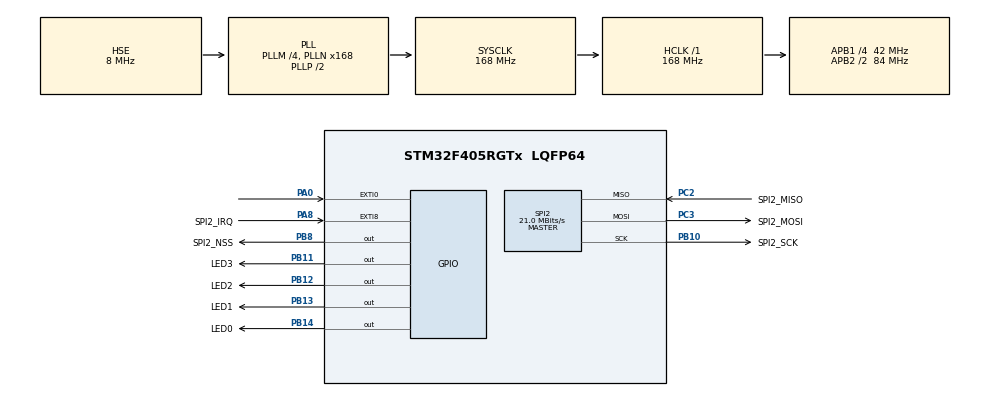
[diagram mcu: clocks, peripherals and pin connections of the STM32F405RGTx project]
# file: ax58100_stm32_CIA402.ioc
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Dma.Request0=SPI2_RX
Dma.Request1=SPI2_TX
Dma.SPI2_RX.0.Direction=DMA_PERIPH_TO_MEMORY
Dma.SPI2_RX.0.FIFOMode=DMA_FIFOMODE_DISABLE
Dma.SPI2_RX.0.Instance=DMA1_Stream3
Dma.SPI2_RX.0.MemDataAlignment=DMA_MDATAALIGN_BYTE
Dma.SPI2_RX.0.MemInc=DMA_MINC_ENABLE
Dma.SPI2_RX.0.Mode=DMA_NORMAL
Dma.SPI2_RX.0.PeriphDataAlignment=DMA_PDATAALIGN_BYTE
Dma.SPI2_RX.0.PeriphInc=DMA_PINC_DISABLE
Dma.SPI2_RX.0.Priority=DMA_PRIORITY_HIGH
Dma.SPI2_TX.1.Direction=DMA_MEMORY_TO_PERIPH
Dma.SPI2_TX.1.FIFOMode=DMA_FIFOMODE_DISABLE
Dma.SPI2_TX.1.Instance=DMA1_Stream4
Dma.SPI2_TX.1.MemDataAlignment=DMA_MDATAALIGN_BYTE
Dma.SPI2_TX.1.MemInc=DMA_MINC_ENABLE
Dma.SPI2_TX.1.Mode=DMA_NORMAL
Dma.SPI2_TX.1.PeriphDataAlignment=DMA_PDATAALIGN_BYTE
Dma.SPI2_TX.1.PeriphInc=DMA_PINC_DISABLE
Dma.SPI2_TX.1.Priority=DMA_PRIORITY_HIGH
FREERTOS.Tasks01=ledTask,24,128,LedTask,Default,NULL,Dynamic,NULL,NULL
Mcu.Family=STM32F4
Mcu.Name=STM32F405RGTx
Mcu.Package=LQFP64
NVIC.DMA1_Stream3_IRQn=true\:5\:0\:false\:false\:true\:true\:false\:true\:true
NVIC.DMA1_Stream4_IRQn=true\:5\:0\:false\:false\:true\:true\:false\:true\:true
NVIC.EXTI0_IRQn=true\:5\:0\:false\:false\:true\:true\:true\:true\:true
NVIC.EXTI9_5_IRQn=true\:5\:0\:false\:false\:true\:true\:true\:true\:true
NVIC.PriorityGroup=NVIC_PRIORITYGROUP_4
NVIC.TIM6_DAC_IRQn=true\:15\:0\:false\:false\:true\:false\:false\:true\:true
NVIC.TimeBase=TIM6_DAC_IRQn
NVIC.TimeBaseIP=TIM6
PA0-WKUP.Signal=GPXTI0
PA8.GPIO_Label=SPI2_IRQ
PA8.GPIO_ModeDefaultEXTI=GPIO_MODE_IT_FALLING
PA8.Signal=GPXTI8
PB10.GPIO_Label=SPI2_SCK
PB10.Mode=Full_Duplex_Master
PB10.Signal=SPI2_SCK
PB11.GPIO_Label=LED3
PB11.Signal=GPIO_Output
PB12.GPIO_Label=LED2
PB12.Signal=GPIO_Output
PB13.GPIO_Label=LED1
PB13.Signal=GPIO_Output
PB14.GPIO_Label=LED0
PB14.Signal=GPIO_Output
PB8.GPIO_Label=SPI2_NSS
PB8.Signal=GPIO_Output
PC2.GPIO_Label=SPI2_MISO
PC2.Mode=Full_Duplex_Master
PC2.Signal=SPI2_MISO
PC3.GPIO_Label=SPI2_MOSI
PC3.Mode=Full_Duplex_Master
PC3.Signal=SPI2_MOSI
PH0-OSC_IN.Mode=HSE-External-Oscillator
PH0-OSC_IN.Signal=RCC_OSC_IN
PH1-OSC_OUT.Mode=HSE-External-Oscillator
PH1-OSC_OUT.Signal=RCC_OSC_OUT
ProjectManager.HeapSize=0x200
ProjectManager.StackSize=0x400
ProjectManager.TargetToolchain=Makefile
RCC.48MHZClocksFreq_Value=48000000
RCC.AHBFreq_Value=168000000
RCC.APB1CLKDivider=RCC_HCLK_DIV4
RCC.APB1Freq_Value=42000000
RCC.APB1TimFreq_Value=84000000
RCC.APB2CLKDivider=RCC_HCLK_DIV2
RCC.APB2Freq_Value=84000000
RCC.APB2TimFreq_Value=168000000
RCC.CortexFreq_Value=168000000
RCC.HCLKFreq_Value=168000000
RCC.HSE_VALUE=8000000
RCC.HSI_VALUE=16000000
RCC.LSE_VALUE=32768
RCC.PLLM=4
RCC.PLLN=168
RCC.PLLQ=7
RCC.PLLSourceVirtual=RCC_PLLSOURCE_HSE
RCC.SYSCLKFreq_VALUE=168000000
RCC.SYSCLKSource=RCC_SYSCLKSOURCE_PLLCLK
RCC.VCOOutputFreq_Value=336000000
SPI2.BaudRatePrescaler=SPI_BAUDRATEPRESCALER_2
SPI2.CRCCalculation=SPI_CRCCALCULATION_ENABLE
SPI2.CRCPolynomial=X7
SPI2.CalculateBaudRate=21.0 MBits/s
SPI2.Direction=SPI_DIRECTION_2LINES
SPI2.Mode=SPI_MODE_MASTER
SPI2.VirtualType=VM_MASTER
VP_FREERTOS_VS_CMSIS_V2.Mode=CMSIS_V2
VP_SYS_VS_tim6.Mode=TIM6
board=custom

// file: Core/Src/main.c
/* USER CODE BEGIN Header */
/**
 ******************************************************************************
 * @file           : main.c
 * @brief          : Main program body
 ******************************************************************************
 * @attention
 *
 * Copyright (c) 2023 STMicroelectronics.
 * All rights reserved.
 *
 * This software is licensed under terms that can be found in the LICENSE file
 * in the root directory of this software component.
 * If no LICENSE file comes with this software, it is provided AS-IS.
 *
 ******************************************************************************
 */
/* USER CODE END Header */
#include "main.h"
#include "cmsis_os.h"

/* USER CODE BEGIN Includes */

#include "esc.h"
#include "ecat_slv.h"
#include "ecatapp.h"

/* USER CODE END Includes */

SPI_HandleTypeDef hspi2;
DMA_HandleTypeDef hdma_spi2_rx;
DMA_HandleTypeDef hdma_spi2_tx;

/* Definitions for ledTask */
osThreadId_t ledTaskHandle;
const osThreadAttr_t ledTask_attributes = {
    .name = "ledTask",
    .stack_size = 128 * 4,
    .priority = (osPriority_t)osPriorityNormal,
};

void SystemClock_Config(void);
static void MX_GPIO_Init(void);
static void MX_DMA_Init(void);
static void MX_SPI2_Init(void);
void LedTask(void *argument);

/* USER CODE BEGIN 0 */
void ecatapp_loop(void)
{
  // stack in mixed mode
  if (sync0_irq_flag)
  {
    ESC_updateALevent();
    DIG_process(DIG_PROCESS_APP_HOOK_FLAG | DIG_PROCESS_INPUTS_FLAG);
    sync0_irq_flag = 0;
  }
  if (pdi_irq_flag)
  {
    ESC_updateALevent();
    if (ESCvar.dcsync)
    {
      DIG_process(DIG_PROCESS_OUTPUTS_FLAG);
    }
    else
    {
      DIG_process(DIG_PROCESS_OUTPUTS_FLAG | DIG_PROCESS_APP_HOOK_FLAG | DIG_PROCESS_INPUTS_FLAG);
    }
    pdi_irq_flag = 0;
  }
  else
  {
    // ecat_slv_worker(ESCREG_ALEVENT_CONTROL | ESCREG_ALEVENT_SMCHANGE
    //                 | ESCREG_ALEVENT_SM0 | ESCREG_ALEVENT_SM1);

    //HAL_GPIO_WritePin(LED0_GPIO_Port, LED0_Pin, GPIO_PIN_SET);
    //osDelay(10);
    //HAL_GPIO_WritePin(LED0_GPIO_Port, LED0_Pin, GPIO_PIN_RESET);
    //osDelay(10);
    ecat_slv_poll();
    DIG_process(DIG_PROCESS_WD_FLAG);
  }
}
/* USER CODE END 0 */

int main(void)
{

  /* MCU Configuration--------------------------------------------------------*/

  /* Reset of all peripherals, Initializes the Flash interface and the Systick. */
  HAL_Init();

  /* Configure the system clock */
  SystemClock_Config();

  /* Initialize all configured peripherals */
  MX_GPIO_Init();
  MX_DMA_Init();
  MX_SPI2_Init();
  /* USER CODE BEGIN 2 */
  ecatapp_init();
  /* USER CODE END 2 */

  /* Init scheduler */
  osKernelInitialize();

  /* Create the thread(s) */
  /* creation of ledTask */
  ledTaskHandle = osThreadNew(LedTask, NULL, &ledTask_attributes);

  /* Start scheduler */
  osKernelStart();

  /* We should never get here as control is now taken by the scheduler */
  /* Infinite loop */
  while (1)
  {

  }
}

void SystemClock_Config(void)
{
  RCC_OscInitTypeDef RCC_OscInitStruct = {0};
  RCC_ClkInitTypeDef RCC_ClkInitStruct = {0};

  /** Configure the main internal regulator output voltage
   */
  __HAL_RCC_PWR_CLK_ENABLE();
  __HAL_PWR_VOLTAGESCALING_CONFIG(PWR_REGULATOR_VOLTAGE_SCALE1);

  /** Initializes the RCC Oscillators according to the specified parameters
   * in the RCC_OscInitTypeDef structure.
   */
  RCC_OscInitStruct.OscillatorType = RCC_OSCILLATORTYPE_HSE;
  RCC_OscInitStruct.HSEState = RCC_HSE_ON;
  RCC_OscInitStruct.PLL.PLLState = RCC_PLL_ON;
  RCC_OscInitStruct.PLL.PLLSource = RCC_PLLSOURCE_HSE;
  RCC_OscInitStruct.PLL.PLLM = 4;
  RCC_OscInitStruct.PLL.PLLN = 168;
  RCC_OscInitStruct.PLL.PLLP = RCC_PLLP_DIV2;
  RCC_OscInitStruct.PLL.PLLQ = 7;
  if (HAL_RCC_OscConfig(&RCC_OscInitStruct) != HAL_OK)
  {
    Error_Handler();
  }

  /** Initializes the CPU, AHB and APB buses clocks
   */
  RCC_ClkInitStruct.ClockType = RCC_CLOCKTYPE_HCLK | RCC_CLOCKTYPE_SYSCLK | RCC_CLOCKTYPE_PCLK1 | RCC_CLOCKTYPE_PCLK2;
  RCC_ClkInitStruct.SYSCLKSource = RCC_SYSCLKSOURCE_PLLCLK;
  RCC_ClkInitStruct.AHBCLKDivider = RCC_SYSCLK_DIV1;
  RCC_ClkInitStruct.APB1CLKDivider = RCC_HCLK_DIV4;
  RCC_ClkInitStruct.APB2CLKDivider = RCC_HCLK_DIV2;

  if (HAL_RCC_ClockConfig(&RCC_ClkInitStruct, FLASH_LATENCY_5) != HAL_OK)
  {
    Error_Handler();
  }
}

static void MX_SPI2_Init(void)
{

  /* SPI2 parameter configuration*/
  hspi2.Instance = SPI2;
  hspi2.Init.Mode = SPI_MODE_MASTER;
  hspi2.Init.Direction = SPI_DIRECTION_2LINES;
  hspi2.Init.DataSize = SPI_DATASIZE_8BIT;
  hspi2.Init.CLKPolarity = SPI_POLARITY_LOW;
  hspi2.Init.CLKPhase = SPI_PHASE_1EDGE;
  hspi2.Init.NSS = SPI_NSS_SOFT;
  hspi2.Init.BaudRatePrescaler = SPI_BAUDRATEPRESCALER_2;
  hspi2.Init.FirstBit = SPI_FIRSTBIT_MSB;
  hspi2.Init.TIMode = SPI_TIMODE_DISABLE;
  hspi2.Init.CRCCalculation = SPI_CRCCALCULATION_ENABLE;
  hspi2.Init.CRCPolynomial = 128;
  if (HAL_SPI_Init(&hspi2) != HAL_OK)
  {
    Error_Handler();
  }
}

static void MX_DMA_Init(void)
{

  /* DMA controller clock enable */
  __HAL_RCC_DMA1_CLK_ENABLE();

  /* DMA interrupt init */
  /* DMA1_Stream3_IRQn interrupt configuration */
  HAL_NVIC_SetPriority(DMA1_Stream3_IRQn, 5, 0);
  HAL_NVIC_EnableIRQ(DMA1_Stream3_IRQn);
  /* DMA1_Stream4_IRQn interrupt configuration */
  HAL_NVIC_SetPriority(DMA1_Stream4_IRQn, 5, 0);
  HAL_NVIC_EnableIRQ(DMA1_Stream4_IRQn);
}

static void MX_GPIO_Init(void)
{
  GPIO_InitTypeDef GPIO_InitStruct = {0};

  /* GPIO Ports Clock Enable */
  __HAL_RCC_GPIOH_CLK_ENABLE();
  __HAL_RCC_GPIOC_CLK_ENABLE();
  __HAL_RCC_GPIOA_CLK_ENABLE();
  __HAL_RCC_GPIOB_CLK_ENABLE();

  /*Configure GPIO pin Output Level */
  HAL_GPIO_WritePin(GPIOB, LED3_Pin | LED2_Pin | LED1_Pin | LED0_Pin | SPI2_NSS_Pin, GPIO_PIN_RESET);

  /*Configure GPIO pin : PA0 */
  GPIO_InitStruct.Pin = GPIO_PIN_0;
  GPIO_InitStruct.Mode = GPIO_MODE_IT_RISING;
  GPIO_InitStruct.Pull = GPIO_NOPULL;
  HAL_GPIO_Init(GPIOA, &GPIO_InitStruct);

  /*Configure GPIO pins : LED3_Pin LED2_Pin LED1_Pin LED0_Pin
                           SPI2_NSS_Pin */
  GPIO_InitStruct.Pin = LED3_Pin | LED2_Pin | LED1_Pin | LED0_Pin | SPI2_NSS_Pin;
  GPIO_InitStruct.Mode = GPIO_MODE_OUTPUT_PP;
  GPIO_InitStruct.Pull = GPIO_NOPULL;
  GPIO_InitStruct.Speed = GPIO_SPEED_FREQ_LOW;
  HAL_GPIO_Init(GPIOB, &GPIO_InitStruct);

  /*Configure GPIO pin : SPI2_IRQ_Pin */
  GPIO_InitStruct.Pin = SPI2_IRQ_Pin;
  GPIO_InitStruct.Mode = GPIO_MODE_IT_FALLING;
  GPIO_InitStruct.Pull = GPIO_NOPULL;
  HAL_GPIO_Init(SPI2_IRQ_GPIO_Port, &GPIO_InitStruct);

  /* EXTI interrupt init*/
  HAL_NVIC_SetPriority(EXTI0_IRQn, 5, 0);
  HAL_NVIC_EnableIRQ(EXTI0_IRQn);

  HAL_NVIC_SetPriority(EXTI9_5_IRQn, 5, 0);
  HAL_NVIC_EnableIRQ(EXTI9_5_IRQn);

}

void LedTask(void *argument)
{
  /* USER CODE BEGIN 5 */
  /* Infinite loop */
  for (;;)
  {
    ecatapp_loop();
  }
  /* USER CODE END 5 */
}

void HAL_TIM_PeriodElapsedCallback(TIM_HandleTypeDef *htim)
{
  if (htim->Instance == TIM6)
  {
    HAL_IncTick();
  }
}

void Error_Handler(void)
{
  __disable_irq();
  while (1)
  {
  }
}
